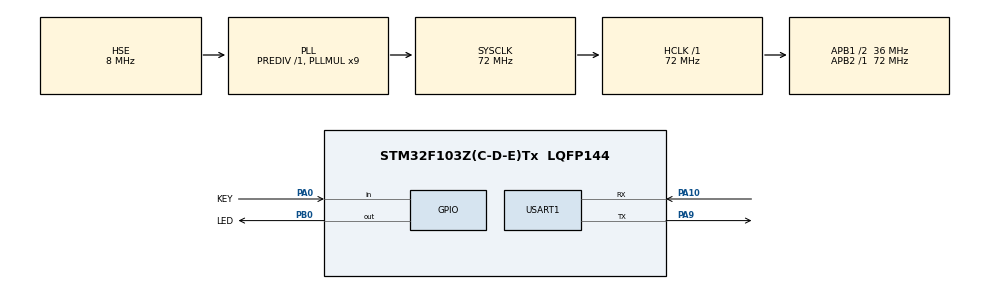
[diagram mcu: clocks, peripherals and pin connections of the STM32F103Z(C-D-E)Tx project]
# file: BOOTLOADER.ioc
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Mcu.Family=STM32F1
Mcu.Name=STM32F103Z(C-D-E)Tx
Mcu.Package=LQFP144
NVIC.PriorityGroup=NVIC_PRIORITYGROUP_4
OSC_IN.Mode=HSE-External-Oscillator
OSC_IN.Signal=RCC_OSC_IN
OSC_OUT.Mode=HSE-External-Oscillator
OSC_OUT.Signal=RCC_OSC_OUT
PA0-WKUP.GPIO_Label=KEY
PA0-WKUP.Signal=GPIO_Input
PA10.Mode=Asynchronous
PA10.Signal=USART1_RX
PA13.Mode=Serial_Wire
PA13.Signal=SYS_JTMS-SWDIO
PA14.Mode=Serial_Wire
PA14.Signal=SYS_JTCK-SWCLK
PA9.Mode=Asynchronous
PA9.Signal=USART1_TX
PB0.GPIO_Label=LED
PB0.Signal=GPIO_Output
ProjectManager.HeapSize=0x200
ProjectManager.StackSize=0x400
ProjectManager.TargetToolchain=MDK-ARM V5.32
RCC.AHBFreq_Value=72000000
RCC.APB1CLKDivider=RCC_HCLK_DIV2
RCC.APB1Freq_Value=36000000
RCC.APB1TimFreq_Value=72000000
RCC.APB2Freq_Value=72000000
RCC.APB2TimFreq_Value=72000000
RCC.HCLKFreq_Value=72000000
RCC.PLLMUL=RCC_PLL_MUL9
RCC.PLLSourceVirtual=RCC_PLLSOURCE_HSE
RCC.SYSCLKFreq_VALUE=72000000
RCC.SYSCLKSource=RCC_SYSCLKSOURCE_PLLCLK
RCC.USBFreq_Value=72000000
USART1.VirtualMode=VM_ASYNC
board=custom

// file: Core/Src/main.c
/* USER CODE BEGIN Header */
/**
  ******************************************************************************
  * @file           : main.c
  * @brief          : Main program body
  ******************************************************************************
  * @attention
  *
  * Copyright (c) 2026 STMicroelectronics.
  * All rights reserved.
  *
  * This software is licensed under terms that can be found in the LICENSE file
  * in the root directory of this software component.
  * If no LICENSE file comes with this software, it is provided AS-IS.
  *
  ******************************************************************************
  */
/* USER CODE END Header */
#include "main.h"
#include "usart.h"
#include "gpio.h"

/* USER CODE BEGIN Includes */
#include "header.h"
/* USER CODE END Includes */

void SystemClock_Config(void);

int main(void)
{

  /* MCU Configuration--------------------------------------------------------*/

  /* Reset of all peripherals, Initializes the Flash interface and the Systick. */
  HAL_Init();

  /* Configure the system clock */
  SystemClock_Config();

  /* Initialize all configured peripherals */
  MX_GPIO_Init();
  MX_USART1_UART_Init();
  /* USER CODE BEGIN 2 */
  printf("MCU Start\r\n");
  if(HAL_GPIO_ReadPin(GPIOA,GPIO_PIN_0) == GPIO_PIN_SET){
	  printf("Enter IAP\r\n");
	  uint32_t filesize =0;
	 if(COM_OK == Ymodem_Receive(&filesize)){
		 printf("OTA OK\r\n");
		 printf("Jump to App\r\n");
		 Jump_To_App();

	 }
	 else{
		 printf("OTA Err\r\n");
		 HAL_Delay(500);
		 NVIC_SystemReset();
	 }
  }

  printf("Jump to app\r\n");
  Jump_To_App();
  /* USER CODE END 2 */

  /* Infinite loop */
  while (1)
  {

    /* USER CODE BEGIN 3 */
		if(HAL_GPIO_ReadPin(KEY_GPIO_Port,KEY_Pin) == GPIO_PIN_SET)
		{
			HAL_Delay(100);
			if(HAL_GPIO_ReadPin(KEY_GPIO_Port,KEY_Pin) == GPIO_PIN_SET)
			{
				printf("KEY ON");
			}
		}

  }
  /* USER CODE END 3 */
}

void SystemClock_Config(void)
{
  RCC_OscInitTypeDef RCC_OscInitStruct = {0};
  RCC_ClkInitTypeDef RCC_ClkInitStruct = {0};

  /** Initializes the RCC Oscillators according to the specified parameters
  * in the RCC_OscInitTypeDef structure.
  */
  RCC_OscInitStruct.OscillatorType = RCC_OSCILLATORTYPE_HSE;
  RCC_OscInitStruct.HSEState = RCC_HSE_ON;
  RCC_OscInitStruct.HSEPredivValue = RCC_HSE_PREDIV_DIV1;
  RCC_OscInitStruct.HSIState = RCC_HSI_ON;
  RCC_OscInitStruct.PLL.PLLState = RCC_PLL_ON;
  RCC_OscInitStruct.PLL.PLLSource = RCC_PLLSOURCE_HSE;
  RCC_OscInitStruct.PLL.PLLMUL = RCC_PLL_MUL9;
  if (HAL_RCC_OscConfig(&RCC_OscInitStruct) != HAL_OK)
  {
    Error_Handler();
  }

  /** Initializes the CPU, AHB and APB buses clocks
  */
  RCC_ClkInitStruct.ClockType = RCC_CLOCKTYPE_HCLK|RCC_CLOCKTYPE_SYSCLK
                              |RCC_CLOCKTYPE_PCLK1|RCC_CLOCKTYPE_PCLK2;
  RCC_ClkInitStruct.SYSCLKSource = RCC_SYSCLKSOURCE_PLLCLK;
  RCC_ClkInitStruct.AHBCLKDivider = RCC_SYSCLK_DIV1;
  RCC_ClkInitStruct.APB1CLKDivider = RCC_HCLK_DIV2;
  RCC_ClkInitStruct.APB2CLKDivider = RCC_HCLK_DIV1;

  if (HAL_RCC_ClockConfig(&RCC_ClkInitStruct, FLASH_LATENCY_2) != HAL_OK)
  {
    Error_Handler();
  }
}

void Error_Handler(void)
{
  __disable_irq();
  while (1)
  {
  }
}
